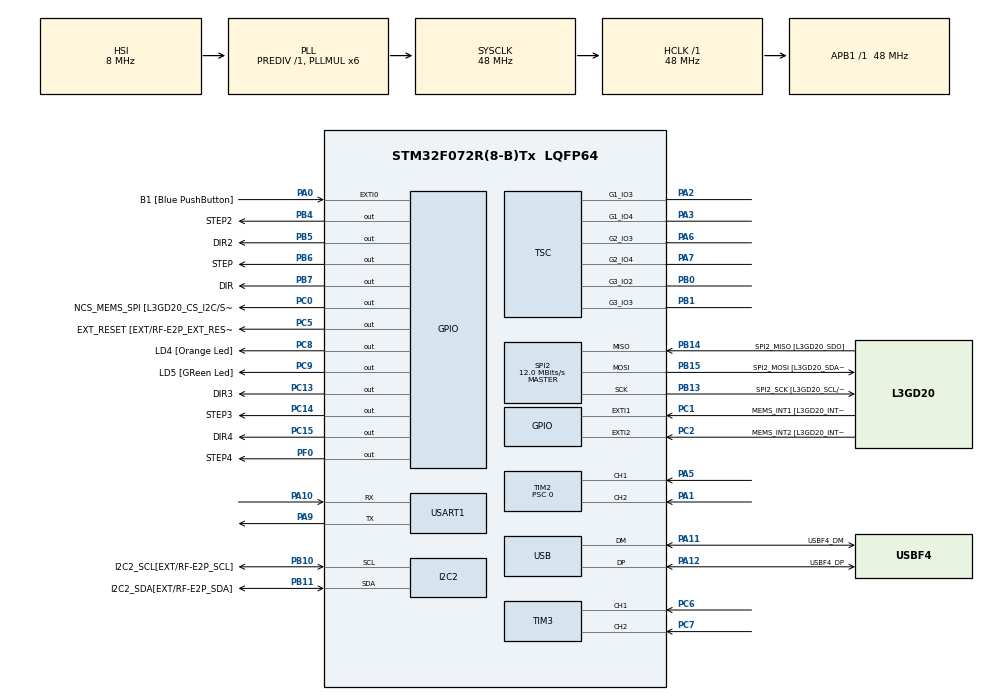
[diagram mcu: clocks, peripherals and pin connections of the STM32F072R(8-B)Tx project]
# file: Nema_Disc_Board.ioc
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I2C2.Timing=0x20303E5D
Mcu.Family=STM32F0
Mcu.Name=STM32F072R(8-B)Tx
Mcu.Package=LQFP64
NVIC.USB_IRQn=true\:0\:0\:false\:false\:true\:false\:true\:true
PA0.GPIO_Label=B1 [Blue PushButton]
PA0.GPIO_ModeDefaultEXTI=GPIO_MODE_EVT_RISING
PA0.Signal=GPXTI0
PA1.Signal=S_TIM2_CH2
PA10.Mode=Asynchronous
PA10.Signal=USART1_RX
PA11.GPIO_Label=USBF4_DM
PA11.Mode=Device
PA11.Signal=USB_DM
PA12.GPIO_Label=USBF4_DP
PA12.Mode=Device
PA12.Signal=USB_DP
PA13.GPIO_Label=SWDIO
PA13.Mode=Serial_Wire
PA13.Signal=SYS_SWDIO
PA14.GPIO_Label=SWCLK
PA14.Mode=Serial_Wire
PA14.Signal=SYS_SWCLK
PA2.Mode=G1_IO3-Channel
PA2.Signal=TSC_G1_IO3
PA3.Mode=G1_IO4-Sampling
PA3.Signal=TSC_G1_IO4
PA5.Signal=S_TIM2_CH1_ETR
PA6.Mode=G2_IO3-Channel
PA6.Signal=TSC_G2_IO3
PA7.Mode=G2_IO4-Sampling
PA7.Signal=TSC_G2_IO4
PA9.Mode=Asynchronous
PA9.Signal=USART1_TX
PB0.Mode=G3_IO2-Channel
PB0.Signal=TSC_G3_IO2
PB1.Mode=G3_IO3-Sampling
PB1.Signal=TSC_G3_IO3
PB10.GPIO_Label=I2C2_SCL[EXT/RF-E2P_SCL]
PB10.GPIO_Pu=GPIO_PULLUP
PB10.Mode=I2C
PB10.Signal=I2C2_SCL
PB11.GPIO_Label=I2C2_SDA[EXT/RF-E2P_SDA]
PB11.GPIO_Pu=GPIO_PULLUP
PB11.Mode=I2C
PB11.Signal=I2C2_SDA
PB13.GPIO_Label=SPI2_SCK [L3GD20_SCL/SPC]
PB13.Mode=Full_Duplex_Master
PB13.Signal=SPI2_SCK
PB14.GPIO_Label=SPI2_MISO [L3GD20_SDO]
PB14.Mode=Full_Duplex_Master
PB14.Signal=SPI2_MISO
PB15.GPIO_Label=SPI2_MOSI [L3GD20_SDA/SDI]
PB15.Mode=Full_Duplex_Master
PB15.Signal=SPI2_MOSI
PB4.GPIO_Label=STEP2
PB4.Signal=GPIO_Output
PB5.GPIO_Label=DIR2
PB5.Signal=GPIO_Output
PB6.GPIO_Label=STEP
PB6.Signal=GPIO_Output
PB7.GPIO_Label=DIR
PB7.Signal=GPIO_Output
PC0.GPIO_Label=NCS_MEMS_SPI [L3GD20_CS_I2C/SPI]
PC0.Signal=GPIO_Output
PC1.GPIO_Label=MEMS_INT1 [L3GD20_INT1]
PC1.GPIO_ModeDefaultEXTI=GPIO_MODE_EVT_RISING
PC1.Signal=GPXTI1
PC13.GPIO_Label=DIR3
PC13.Signal=GPIO_Output
PC14-OSC32_IN.GPIO_Label=STEP3
PC14-OSC32_IN.Signal=GPIO_Output
PC15-OSC32_OUT.GPIO_Label=DIR4
PC15-OSC32_OUT.Signal=GPIO_Output
PC2.GPIO_Label=MEMS_INT2 [L3GD20_INT2]
PC2.GPIO_ModeDefaultEXTI=GPIO_MODE_EVT_RISING
PC2.Signal=GPXTI2
PC5.GPIO_Label=EXT_RESET [EXT/RF-E2P_EXT_RESET]
PC5.Signal=GPIO_Output
PC6.Signal=S_TIM3_CH1
PC7.Signal=S_TIM3_CH2
PC8.GPIO_Label=LD4 [Orange Led]
PC8.Signal=GPIO_Output
PC9.GPIO_Label=LD5 [GReen Led]
PC9.Signal=GPIO_Output
PF0-OSC_IN.GPIO_Label=STEP4
PF0-OSC_IN.Signal=GPIO_Output
ProjectManager.HeapSize=0x200
ProjectManager.StackSize=0x400
ProjectManager.TargetToolchain=STM32CubeIDE
RCC.AHBFreq_Value=48000000
RCC.APB1Freq_Value=48000000
RCC.APB1TimFreq_Value=48000000
RCC.HCLKFreq_Value=48000000
RCC.PLLMUL=RCC_PLL_MUL6
RCC.SYSCLKFreq_VALUE=48000000
RCC.SYSCLKSource=RCC_SYSCLKSOURCE_PLLCLK
SH.S_TIM2_CH1_ETR.0=TIM2_CH1,Encoder_Interface
SH.S_TIM2_CH2.0=TIM2_CH2,Encoder_Interface
SH.S_TIM3_CH1.0=TIM3_CH1,Encoder_Interface
SH.S_TIM3_CH2.0=TIM3_CH2,Encoder_Interface
SPI2.BaudRatePrescaler=SPI_BAUDRATEPRESCALER_4
SPI2.CalculateBaudRate=12.0 MBits/s
SPI2.Direction=SPI_DIRECTION_2LINES
SPI2.Mode=SPI_MODE_MASTER
SPI2.VirtualType=VM_MASTER
TIM1.Prescaler=71
TIM2.EncoderMode=TIM_ENCODERMODE_TI12
TIM2.IC1Filter=5
TIM2.IC2Filter=5
TIM2.Period=1000001
TIM2.Prescaler=0
TIM3.EncoderMode=TIM_ENCODERMODE_TI12
TIM3.IC1Filter=5
TIM3.IC2Filter=5
USART1.VirtualMode-Asynchronous=VM_ASYNC
USB_DEVICE.CLASS_NAME_FS=CDC
USB_DEVICE.VirtualMode=Cdc
USB_DEVICE.VirtualModeFS=Cdc_FS
VP_TIM1_VS_ClockSourceINT.Mode=Internal
VP_USB_DEVICE_VS_USB_DEVICE_CDC_FS.Mode=CDC_FS
board=STM32F072B-DISCO

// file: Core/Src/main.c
/* USER CODE BEGIN Header */
/**
  ******************************************************************************
  * @file           : main.c
  * @brief          : Main program body
  ******************************************************************************
  * @attention
  *
  * Copyright (c) 2024 STMicroelectronics.
  * All rights reserved.
  *
  * This software is licensed under terms that can be found in the LICENSE file
  * in the root directory of this software component.
  * If no LICENSE file comes with this software, it is provided AS-IS.
  *
  ******************************************************************************
  */
/* USER CODE END Header */
#include "main.h"
#include "usb_device.h"

/* USER CODE BEGIN Includes */
#include "usbd_cdc_if.h"
#include "string.h"
#include "stdbool.h"
/* USER CODE END Includes */

I2C_HandleTypeDef hi2c2;

SPI_HandleTypeDef hspi2;

TIM_HandleTypeDef htim1;
TIM_HandleTypeDef htim2;
TIM_HandleTypeDef htim3;

TSC_HandleTypeDef htsc;

UART_HandleTypeDef huart1;

/* USER CODE BEGIN PV */
//motor parameters
uint8_t rx_buffer[10];
uint8_t rx_indx;
uint8_t tx_buffer[100];
uint8_t transfer_cplt;
char edit_type;

volatile int period=0;
volatile int steps=0;
volatile bool direction=0;
volatile int motor=0;
MOTOR_STATE motor_state = MOTOR_STATE_REST;

int step_counter;

/* USER CODE END PV */

void SystemClock_Config(void);
static void MX_GPIO_Init(void);
static void MX_I2C2_Init(void);
static void MX_SPI2_Init(void);
static void MX_TSC_Init(void);
static void MX_USART1_UART_Init(void);
static void MX_TIM3_Init(void);
static void MX_TIM2_Init(void);
static void MX_TIM1_Init(void);
/* USER CODE BEGIN PFP */
void performStepping(int stepDelay, bool Dir, int num_steps,  GPIO_TypeDef* dirPort, GPIO_TypeDef* stepPort, uint16_t dirPin, uint16_t stepPin);
void performStepping2(int stepDelay, bool Dir, int num_steps, int motor );

/* USER CODE END PFP */

/* USER CODE BEGIN 0 */
char *data = "Hello from CONTROLLERSTECH\n\r";

uint8_t rx_data[64];

void microDelay (uint16_t delay) // 1MHz
{
  __HAL_TIM_SET_COUNTER(&htim1, 0);
  while (__HAL_TIM_GET_COUNTER(&htim1) < delay);
}

/* USER CODE END 0 */

int main(void)
{

  /* MCU Configuration--------------------------------------------------------*/

  /* Reset of all peripherals, Initializes the Flash interface and the Systick. */
  HAL_Init();

  /* Configure the system clock */
  SystemClock_Config();

  /* Initialize all configured peripherals */
  MX_GPIO_Init();
  MX_I2C2_Init();
  MX_SPI2_Init();
  MX_TSC_Init();
  MX_USART1_UART_Init();
  MX_USB_DEVICE_Init();
  MX_TIM3_Init();
  MX_TIM2_Init();
  MX_TIM1_Init();
  /* USER CODE BEGIN 2 */
  HAL_TIM_Base_Start(&htim1);
  HAL_TIM_Encoder_Start(&htim3, TIM_CHANNEL_ALL);
  HAL_TIM_Encoder_Start(&htim2, TIM_CHANNEL_ALL);
  TIM3->CNT=32768;
  TIM2->CNT=500000;
  /* USER CODE END 2 */

  /* Infinite loop */
  /* USER CODE BEGIN WHILE */
  while (1)
  {
//////////////////////////////////////////////////////////////////////////////////////////////////////////////////////////////////////////////////
// Check also static int8_t CDC_Receive_FS(uint8_t* Buf, uint32_t *Len) in USB_DEVICE/App/usbd_cdc_if.c for the code to interrupt an run Execution
//////////////////////////////////////////////////////////////////////////////////////////////////////////////////////////////////////////////////

//	   If motor is in running state
	  	    if (motor_state == MOTOR_STATE_RUN){
	  	        // Transmit current motor state over UART
	  	        sprintf(tx_buffer,"\nsteps:%d period:%d Direction:%d motor:%d\n",steps,period,direction,motor);
	  	        CDC_Transmit_FS((uint8_t*) tx_buffer, strlen(tx_buffer));

	  	        // Enable UART receive interrupt and perform stepping
	  	        HAL_NVIC_EnableIRQ(USART2_IRQn);
	  	        performStepping2(period, direction, steps,motor);

	  	        // Abort receive interrupt and disable UART receive interrupt
	  	        HAL_NVIC_DisableIRQ(USART2_IRQn);

	  	        // Transmit 'done' message over UART
	  	        sprintf(tx_buffer,"done\n");
	  	        CDC_Transmit_FS((uint8_t*) tx_buffer, strlen(tx_buffer));

	  	        if (motor == 0){
	  	        sprintf(tx_buffer,"%d\n",TIM3->CNT); // Angular encoder value
				CDC_Transmit_FS((uint8_t*) tx_buffer, strlen(tx_buffer));
	  	        }else if (motor==1){
	  	        	sprintf(tx_buffer,"%d\n",TIM2->CNT); // Radial encoder value
	  	        	CDC_Transmit_FS((uint8_t*) tx_buffer, strlen(tx_buffer));
	  	        }

	  	        // Reset receive data and set motor state to rest
	  	        memset (rx_data, '\0', 64);
	  	        motor_state = MOTOR_STATE_REST;
	  	    }

	  	    // If motor is in edit state
	  	    char *token;
	  	    if (motor_state == MOTOR_STATE_EDIT){
	  	    	if(rx_data[0]!=0){
	  	    		if(rx_data[0]!=13){ // 13= Enter Button
						// Append received data to receive buffer
						rx_buffer[rx_indx++]=rx_data[0];
					}
					else{
						// Finish receiving data and process command
						rx_buffer[rx_indx++]='!';
						rx_indx = 0;
						transfer_cplt=1;

						// Tokenize received command
						token = strtok((char*)rx_buffer,"!");
						edit_type = token[0];
						token = strtok(NULL,"!");
						int result = atoi(token);

						// Set motor parameters based on command
						if(edit_type == 'p'){
							period= result;
						}
						else if(edit_type == 's'){
							steps = result;
						}
						else if(edit_type == 'm'){
							motor = result;
						}
						else if(edit_type == 'd'){
							if (result==0){
								direction = false;
							}else{
								direction = true;
							}
						}
						if(edit_type == 'e'){
							sprintf(tx_buffer,"%d\n",TIM3->CNT); // Angular encoder value
							CDC_Transmit_FS((uint8_t*) tx_buffer, strlen(tx_buffer));
							sprintf(tx_buffer,"%d\n",TIM2->CNT); // Radial encoder value
							CDC_Transmit_FS((uint8_t*) tx_buffer, strlen(tx_buffer));

						}
						if(edit_type == 'c'){
							if (direction == true){
								sprintf(tx_buffer,"%d\n",steps); // Angular encoder value
								CDC_Transmit_FS((uint8_t*) tx_buffer, strlen(tx_buffer));
							} else{
								sprintf(tx_buffer,"%d\n",-steps); // Angular encoder value
								CDC_Transmit_FS((uint8_t*) tx_buffer, strlen(tx_buffer));
							}

						}

						// Set motor state to rest
						motor_state = MOTOR_STATE_REST;
					}
	  	    		memset (rx_data, '\0', 64);
	  	    	}

	  	    }

	  	    // If motor is in rest state
	  	    if (motor_state== MOTOR_STATE_REST){
	  	        // Check for specific commands and set editing mode accordingly
	  	        if (rx_data[0]=='p'){
	  	            rx_buffer[0]= 'p';
	  	            rx_buffer[1]= '!';
	  	            rx_indx = 2;
	  	            motor_state = MOTOR_STATE_EDIT;
	  	        }
	  	        else if (rx_data[0]=='s'){
	  	            rx_buffer[0]= 's';
	  	            rx_buffer[1]= '!';
	  	            rx_indx = 2;
	  	            motor_state = MOTOR_STATE_EDIT;
	  	        }
	  	        else if (rx_data[0]=='d'){
	  	            rx_buffer[0]= 'd';
	  	            rx_buffer[1]= '!';
	  	            rx_indx = 2;
	  	            motor_state = MOTOR_STATE_EDIT;
	  	        }
	  	        else if (rx_data[0]=='m'){
	  	            rx_buffer[0]= 'm';
	  	            rx_buffer[1]= '!';
	  	            rx_indx = 2;
	  	            motor_state = MOTOR_STATE_EDIT;
	  	        }
	  	      else if (rx_data[0]=='e'){
					rx_buffer[0]= 'e';
					rx_buffer[1]= '!';
					rx_indx = 2;
					motor_state = MOTOR_STATE_EDIT;
				}
	  	    else if (rx_data[0]=='c'){
					rx_buffer[0]= 'c';
					rx_buffer[1]= '!';
					rx_indx = 2;
					motor_state = MOTOR_STATE_EDIT;
				}
	  	        else if (rx_data[0]=='r'){
	  	            // Switch to run mode
	  	            motor_state = MOTOR_STATE_RUN;
	  	        }
	  	        memset (rx_data, '\0', 64);
	  	    }

	  	    // Reset receive buffer when no data is received or received data is not valid
	  	    int i;
	  	    if(rx_indx == 0 && rx_data[0]!= 0){
	  	        for(i=0; i<10; i++)
	  	            rx_buffer[i] = 0;
	  	        HAL_GPIO_WritePin(GPIOA, GPIO_PIN_5, GPIO_PIN_RESET);
	  	    }
    /* USER CODE END WHILE */

  }
}

void SystemClock_Config(void)
{
  RCC_OscInitTypeDef RCC_OscInitStruct = {0};
  RCC_ClkInitTypeDef RCC_ClkInitStruct = {0};
  RCC_PeriphCLKInitTypeDef PeriphClkInit = {0};

  /** Initializes the RCC Oscillators according to the specified parameters
  * in the RCC_OscInitTypeDef structure.
  */
  RCC_OscInitStruct.OscillatorType = RCC_OSCILLATORTYPE_HSI|RCC_OSCILLATORTYPE_HSI48;
  RCC_OscInitStruct.HSIState = RCC_HSI_ON;
  RCC_OscInitStruct.HSI48State = RCC_HSI48_ON;
  RCC_OscInitStruct.HSICalibrationValue = RCC_HSICALIBRATION_DEFAULT;
  RCC_OscInitStruct.PLL.PLLState = RCC_PLL_ON;
  RCC_OscInitStruct.PLL.PLLSource = RCC_PLLSOURCE_HSI;
  RCC_OscInitStruct.PLL.PLLMUL = RCC_PLL_MUL6;
  RCC_OscInitStruct.PLL.PREDIV = RCC_PREDIV_DIV1;
  if (HAL_RCC_OscConfig(&RCC_OscInitStruct) != HAL_OK)
  {
    Error_Handler();
  }

  /** Initializes the CPU, AHB and APB buses clocks
  */
  RCC_ClkInitStruct.ClockType = RCC_CLOCKTYPE_HCLK|RCC_CLOCKTYPE_SYSCLK
                              |RCC_CLOCKTYPE_PCLK1;
  RCC_ClkInitStruct.SYSCLKSource = RCC_SYSCLKSOURCE_PLLCLK;
  RCC_ClkInitStruct.AHBCLKDivider = RCC_SYSCLK_DIV1;
  RCC_ClkInitStruct.APB1CLKDivider = RCC_HCLK_DIV1;

  if (HAL_RCC_ClockConfig(&RCC_ClkInitStruct, FLASH_LATENCY_1) != HAL_OK)
  {
    Error_Handler();
  }
  PeriphClkInit.PeriphClockSelection = RCC_PERIPHCLK_USB|RCC_PERIPHCLK_USART1;
  PeriphClkInit.Usart1ClockSelection = RCC_USART1CLKSOURCE_PCLK1;
  PeriphClkInit.UsbClockSelection = RCC_USBCLKSOURCE_HSI48;

  if (HAL_RCCEx_PeriphCLKConfig(&PeriphClkInit) != HAL_OK)
  {
    Error_Handler();
  }
}

static void MX_I2C2_Init(void)
{

  hi2c2.Instance = I2C2;
  hi2c2.Init.Timing = 0x20303E5D;
  hi2c2.Init.OwnAddress1 = 0;
  hi2c2.Init.AddressingMode = I2C_ADDRESSINGMODE_7BIT;
  hi2c2.Init.DualAddressMode = I2C_DUALADDRESS_DISABLE;
  hi2c2.Init.OwnAddress2 = 0;
  hi2c2.Init.OwnAddress2Masks = I2C_OA2_NOMASK;
  hi2c2.Init.GeneralCallMode = I2C_GENERALCALL_DISABLE;
  hi2c2.Init.NoStretchMode = I2C_NOSTRETCH_DISABLE;
  if (HAL_I2C_Init(&hi2c2) != HAL_OK)
  {
    Error_Handler();
  }

  /** Configure Analogue filter
  */
  if (HAL_I2CEx_ConfigAnalogFilter(&hi2c2, I2C_ANALOGFILTER_ENABLE) != HAL_OK)
  {
    Error_Handler();
  }

  /** Configure Digital filter
  */
  if (HAL_I2CEx_ConfigDigitalFilter(&hi2c2, 0) != HAL_OK)
  {
    Error_Handler();
  }

}

static void MX_SPI2_Init(void)
{

  /* SPI2 parameter configuration*/
  hspi2.Instance = SPI2;
  hspi2.Init.Mode = SPI_MODE_MASTER;
  hspi2.Init.Direction = SPI_DIRECTION_2LINES;
  hspi2.Init.DataSize = SPI_DATASIZE_4BIT;
  hspi2.Init.CLKPolarity = SPI_POLARITY_LOW;
  hspi2.Init.CLKPhase = SPI_PHASE_1EDGE;
  hspi2.Init.NSS = SPI_NSS_SOFT;
  hspi2.Init.BaudRatePrescaler = SPI_BAUDRATEPRESCALER_4;
  hspi2.Init.FirstBit = SPI_FIRSTBIT_MSB;
  hspi2.Init.TIMode = SPI_TIMODE_DISABLE;
  hspi2.Init.CRCCalculation = SPI_CRCCALCULATION_DISABLE;
  hspi2.Init.CRCPolynomial = 7;
  hspi2.Init.CRCLength = SPI_CRC_LENGTH_DATASIZE;
  hspi2.Init.NSSPMode = SPI_NSS_PULSE_ENABLE;
  if (HAL_SPI_Init(&hspi2) != HAL_OK)
  {
    Error_Handler();
  }

}

static void MX_TIM1_Init(void)
{

  TIM_ClockConfigTypeDef sClockSourceConfig = {0};
  TIM_MasterConfigTypeDef sMasterConfig = {0};

  htim1.Instance = TIM1;
  htim1.Init.Prescaler = 71;
  htim1.Init.CounterMode = TIM_COUNTERMODE_UP;
  htim1.Init.Period = 65535;
  htim1.Init.ClockDivision = TIM_CLOCKDIVISION_DIV1;
  htim1.Init.RepetitionCounter = 0;
  htim1.Init.AutoReloadPreload = TIM_AUTORELOAD_PRELOAD_DISABLE;
  if (HAL_TIM_Base_Init(&htim1) != HAL_OK)
  {
    Error_Handler();
  }
  sClockSourceConfig.ClockSource = TIM_CLOCKSOURCE_INTERNAL;
  if (HAL_TIM_ConfigClockSource(&htim1, &sClockSourceConfig) != HAL_OK)
  {
    Error_Handler();
  }
  sMasterConfig.MasterOutputTrigger = TIM_TRGO_RESET;
  sMasterConfig.MasterSlaveMode = TIM_MASTERSLAVEMODE_DISABLE;
  if (HAL_TIMEx_MasterConfigSynchronization(&htim1, &sMasterConfig) != HAL_OK)
  {
    Error_Handler();
  }

}

static void MX_TIM2_Init(void)
{

  TIM_Encoder_InitTypeDef sConfig = {0};
  TIM_MasterConfigTypeDef sMasterConfig = {0};

  htim2.Instance = TIM2;
  htim2.Init.Prescaler = 0;
  htim2.Init.CounterMode = TIM_COUNTERMODE_UP;
  htim2.Init.Period = 1000001;
  htim2.Init.ClockDivision = TIM_CLOCKDIVISION_DIV1;
  htim2.Init.AutoReloadPreload = TIM_AUTORELOAD_PRELOAD_DISABLE;
  sConfig.EncoderMode = TIM_ENCODERMODE_TI12;
  sConfig.IC1Polarity = TIM_ICPOLARITY_RISING;
  sConfig.IC1Selection = TIM_ICSELECTION_DIRECTTI;
  sConfig.IC1Prescaler = TIM_ICPSC_DIV1;
  sConfig.IC1Filter = 5;
  sConfig.IC2Polarity = TIM_ICPOLARITY_RISING;
  sConfig.IC2Selection = TIM_ICSELECTION_DIRECTTI;
  sConfig.IC2Prescaler = TIM_ICPSC_DIV1;
  sConfig.IC2Filter = 5;
  if (HAL_TIM_Encoder_Init(&htim2, &sConfig) != HAL_OK)
  {
    Error_Handler();
  }
  sMasterConfig.MasterOutputTrigger = TIM_TRGO_RESET;
  sMasterConfig.MasterSlaveMode = TIM_MASTERSLAVEMODE_DISABLE;
  if (HAL_TIMEx_MasterConfigSynchronization(&htim2, &sMasterConfig) != HAL_OK)
  {
    Error_Handler();
  }

}

static void MX_TIM3_Init(void)
{

  TIM_Encoder_InitTypeDef sConfig = {0};
  TIM_MasterConfigTypeDef sMasterConfig = {0};

  htim3.Instance = TIM3;
  htim3.Init.Prescaler = 0;
  htim3.Init.CounterMode = TIM_COUNTERMODE_UP;
  htim3.Init.Period = 65535;
  htim3.Init.ClockDivision = TIM_CLOCKDIVISION_DIV1;
  htim3.Init.AutoReloadPreload = TIM_AUTORELOAD_PRELOAD_DISABLE;
  sConfig.EncoderMode = TIM_ENCODERMODE_TI12;
  sConfig.IC1Polarity = TIM_ICPOLARITY_RISING;
  sConfig.IC1Selection = TIM_ICSELECTION_DIRECTTI;
  sConfig.IC1Prescaler = TIM_ICPSC_DIV1;
  sConfig.IC1Filter = 5;
  sConfig.IC2Polarity = TIM_ICPOLARITY_RISING;
  sConfig.IC2Selection = TIM_ICSELECTION_DIRECTTI;
  sConfig.IC2Prescaler = TIM_ICPSC_DIV1;
  sConfig.IC2Filter = 5;
  if (HAL_TIM_Encoder_Init(&htim3, &sConfig) != HAL_OK)
  {
    Error_Handler();
  }
  sMasterConfig.MasterOutputTrigger = TIM_TRGO_RESET;
  sMasterConfig.MasterSlaveMode = TIM_MASTERSLAVEMODE_DISABLE;
  if (HAL_TIMEx_MasterConfigSynchronization(&htim3, &sMasterConfig) != HAL_OK)
  {
    Error_Handler();
  }

}

static void MX_TSC_Init(void)
{

  /** Configure the TSC peripheral
  */
  htsc.Instance = TSC;
  htsc.Init.CTPulseHighLength = TSC_CTPH_2CYCLES;
  htsc.Init.CTPulseLowLength = TSC_CTPL_2CYCLES;
  htsc.Init.SpreadSpectrum = DISABLE;
  htsc.Init.SpreadSpectrumDeviation = 1;
  htsc.Init.SpreadSpectrumPrescaler = TSC_SS_PRESC_DIV1;
  htsc.Init.PulseGeneratorPrescaler = TSC_PG_PRESC_DIV4;
  htsc.Init.MaxCountValue = TSC_MCV_8191;
  htsc.Init.IODefaultMode = TSC_IODEF_OUT_PP_LOW;
  htsc.Init.SynchroPinPolarity = TSC_SYNC_POLARITY_FALLING;
  htsc.Init.AcquisitionMode = TSC_ACQ_MODE_NORMAL;
  htsc.Init.MaxCountInterrupt = DISABLE;
  htsc.Init.ChannelIOs = TSC_GROUP1_IO3|TSC_GROUP2_IO3|TSC_GROUP3_IO2;
  htsc.Init.ShieldIOs = 0;
  htsc.Init.SamplingIOs = TSC_GROUP1_IO4|TSC_GROUP2_IO4|TSC_GROUP3_IO3;
  if (HAL_TSC_Init(&htsc) != HAL_OK)
  {
    Error_Handler();
  }

}

static void MX_USART1_UART_Init(void)
{

  huart1.Instance = USART1;
  huart1.Init.BaudRate = 38400;
  huart1.Init.WordLength = UART_WORDLENGTH_8B;
  huart1.Init.StopBits = UART_STOPBITS_1;
  huart1.Init.Parity = UART_PARITY_NONE;
  huart1.Init.Mode = UART_MODE_TX_RX;
  huart1.Init.HwFlowCtl = UART_HWCONTROL_NONE;
  huart1.Init.OverSampling = UART_OVERSAMPLING_16;
  huart1.Init.OneBitSampling = UART_ONE_BIT_SAMPLE_DISABLE;
  huart1.AdvancedInit.AdvFeatureInit = UART_ADVFEATURE_NO_INIT;
  if (HAL_UART_Init(&huart1) != HAL_OK)
  {
    Error_Handler();
  }

}

static void MX_GPIO_Init(void)
{
  GPIO_InitTypeDef GPIO_InitStruct = {0};

  /* GPIO Ports Clock Enable */
  __HAL_RCC_GPIOC_CLK_ENABLE();
  __HAL_RCC_GPIOF_CLK_ENABLE();
  __HAL_RCC_GPIOA_CLK_ENABLE();
  __HAL_RCC_GPIOB_CLK_ENABLE();

  /*Configure GPIO pin Output Level */
  HAL_GPIO_WritePin(GPIOC, DIR3_Pin|STEP3_Pin|DIR4_Pin|NCS_MEMS_SPI_Pin
                          |EXT_RESET_Pin|LD4_Pin|LD5_Pin, GPIO_PIN_RESET);

  /*Configure GPIO pin Output Level */
  HAL_GPIO_WritePin(STEP4_GPIO_Port, STEP4_Pin, GPIO_PIN_RESET);

  /*Configure GPIO pin Output Level */
  HAL_GPIO_WritePin(GPIOB, STEP2_Pin|DIR2_Pin|STEP_Pin|DIR_Pin, GPIO_PIN_RESET);

  /*Configure GPIO pins : DIR3_Pin STEP3_Pin DIR4_Pin NCS_MEMS_SPI_Pin
                           EXT_RESET_Pin LD4_Pin LD5_Pin */
  GPIO_InitStruct.Pin = DIR3_Pin|STEP3_Pin|DIR4_Pin|NCS_MEMS_SPI_Pin
                          |EXT_RESET_Pin|LD4_Pin|LD5_Pin;
  GPIO_InitStruct.Mode = GPIO_MODE_OUTPUT_PP;
  GPIO_InitStruct.Pull = GPIO_NOPULL;
  GPIO_InitStruct.Speed = GPIO_SPEED_FREQ_LOW;
  HAL_GPIO_Init(GPIOC, &GPIO_InitStruct);

  /*Configure GPIO pin : STEP4_Pin */
  GPIO_InitStruct.Pin = STEP4_Pin;
  GPIO_InitStruct.Mode = GPIO_MODE_OUTPUT_PP;
  GPIO_InitStruct.Pull = GPIO_NOPULL;
  GPIO_InitStruct.Speed = GPIO_SPEED_FREQ_LOW;
  HAL_GPIO_Init(STEP4_GPIO_Port, &GPIO_InitStruct);

  /*Configure GPIO pins : MEMS_INT1_Pin MEMS_INT2_Pin */
  GPIO_InitStruct.Pin = MEMS_INT1_Pin|MEMS_INT2_Pin;
  GPIO_InitStruct.Mode = GPIO_MODE_EVT_RISING;
  GPIO_InitStruct.Pull = GPIO_NOPULL;
  HAL_GPIO_Init(GPIOC, &GPIO_InitStruct);

  /*Configure GPIO pin : B1_Pin */
  GPIO_InitStruct.Pin = B1_Pin;
  GPIO_InitStruct.Mode = GPIO_MODE_EVT_RISING;
  GPIO_InitStruct.Pull = GPIO_NOPULL;
  HAL_GPIO_Init(B1_GPIO_Port, &GPIO_InitStruct);

  /*Configure GPIO pins : STEP2_Pin DIR2_Pin STEP_Pin DIR_Pin */
  GPIO_InitStruct.Pin = STEP2_Pin|DIR2_Pin|STEP_Pin|DIR_Pin;
  GPIO_InitStruct.Mode = GPIO_MODE_OUTPUT_PP;
  GPIO_InitStruct.Pull = GPIO_NOPULL;
  GPIO_InitStruct.Speed = GPIO_SPEED_FREQ_LOW;
  HAL_GPIO_Init(GPIOB, &GPIO_InitStruct);

}

/* USER CODE BEGIN 4 */
void performStepping(int stepDelay, bool Dir, int num_steps,  GPIO_TypeDef* dirPort, GPIO_TypeDef* stepPort, uint16_t dirPin, uint16_t stepPin) {

    // Set direction to clockwise
    if(Dir==true){
        HAL_GPIO_WritePin(dirPort, dirPin, GPIO_PIN_SET);
    }else{
        HAL_GPIO_WritePin(dirPort, dirPin, GPIO_PIN_RESET);
    }
    int encoder_counter = 0;
    int encoder_old;
    int encoder_new;
    bool flag = false;
    int thresCounter = 0;
    int thresDiff = 0;

    if(stepPin == STEP_Pin){
    	thresCounter = 15; // angular
    	thresDiff = 60;
    } else if (stepPin == STEP2_Pin){
    	thresCounter = 5000; // radial
    	thresDiff=1000;
    }

    // Perform steps in clockwise direction
    for (step_counter = 0; step_counter < num_steps; step_counter = step_counter + 1) {
    	if (motor_state == MOTOR_STATE_RUN){ // no key interrupt sent
    		if (stepPin == STEP_Pin){
				if(flag==false){encoder_old = TIM3->CNT;}

			}
			else if (stepPin == STEP2_Pin){
				if(flag==false){encoder_old = TIM2->CNT;}

			}
            HAL_GPIO_WritePin(stepPort, stepPin, GPIO_PIN_SET);
            microDelay(stepDelay);
            HAL_GPIO_WritePin(stepPort, stepPin, GPIO_PIN_RESET);
            microDelay(stepDelay);

            if (stepPin == STEP_Pin){
            	encoder_new = TIM3->CNT;
            }else if (stepPin == STEP2_Pin){
            	encoder_new = TIM2->CNT;
            }
            if (abs(encoder_new - encoder_old) <= thresDiff){ // if motor is not moving (motor at edge)
            	encoder_counter++;
            	flag = true;
            	if (encoder_counter == thresCounter){ // if motor still not moving after multiple steps
            		break;
            	}
            }else{ // if motor is moving (motor not at edge)
            	encoder_counter = 0;
            	flag = false;
            }

    	}
    	else{ // key interrupt sent, motor stops! (Interrupt code can be found in USB_DEVICE/usbd_cdc_if.c)
    		break;
    	}
    }

}
void performStepping2(int stepDelay, bool Dir, int num_steps , int motor) {

    switch(motor){
    case 0:
    	performStepping(stepDelay, Dir, num_steps, DIR_GPIO_Port, STEP_GPIO_Port, DIR_Pin, STEP_Pin);
    	break;
    case 1:
    	performStepping(stepDelay, Dir, num_steps, DIR2_GPIO_Port, STEP2_GPIO_Port, DIR2_Pin, STEP2_Pin);
    	break;
    case 2:
    	performStepping(stepDelay, Dir, num_steps, DIR3_GPIO_Port, STEP3_GPIO_Port, DIR3_Pin, STEP3_Pin);
    	break;
    case 3:
    	performStepping(stepDelay, Dir, num_steps, DIR4_GPIO_Port, STEP4_GPIO_Port, DIR4_Pin, STEP4_Pin);
    	break;
    }
}
/* USER CODE END 4 */

void Error_Handler(void)
{
  __disable_irq();
  while (1)
  {
  }
}
